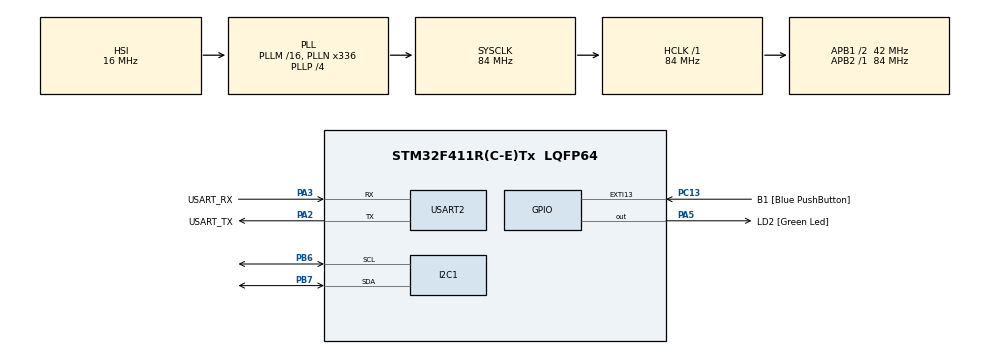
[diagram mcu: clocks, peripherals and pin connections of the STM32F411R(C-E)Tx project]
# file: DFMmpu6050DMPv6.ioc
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I2C1.I2C_Mode=I2C_Fast
Mcu.Family=STM32F4
Mcu.Name=STM32F411R(C-E)Tx
Mcu.Package=LQFP64
NVIC.PriorityGroup=NVIC_PRIORITYGROUP_0
PA13.GPIO_Label=TMS
PA13.Mode=Serial_Wire
PA13.Signal=SYS_JTMS-SWDIO
PA14.GPIO_Label=TCK
PA14.Mode=Serial_Wire
PA14.Signal=SYS_JTCK-SWCLK
PA2.GPIO_Label=USART_TX
PA2.Mode=Asynchronous
PA2.Signal=USART2_TX
PA3.GPIO_Label=USART_RX
PA3.Mode=Asynchronous
PA3.Signal=USART2_RX
PA5.GPIO_Label=LD2 [Green Led]
PA5.Signal=GPIO_Output
PB3.GPIO_Label=SWO
PB3.Signal=SYS_JTDO-SWO
PB6.Mode=I2C
PB6.Signal=I2C1_SCL
PB7.Mode=I2C
PB7.Signal=I2C1_SDA
PC13-ANTI_TAMP.GPIO_Label=B1 [Blue PushButton]
PC13-ANTI_TAMP.GPIO_ModeDefaultEXTI=GPIO_MODE_IT_FALLING
PC13-ANTI_TAMP.Signal=GPXTI13
PC14-OSC32_IN.Mode=LSE-External-Oscillator
PC14-OSC32_IN.Signal=RCC_OSC32_IN
PC15-OSC32_OUT.Mode=LSE-External-Oscillator
PC15-OSC32_OUT.Signal=RCC_OSC32_OUT
PH0\ -\ OSC_IN.Mode=HSE-External-Clock-Source
PH0\ -\ OSC_IN.Signal=RCC_OSC_IN
PH1\ -\ OSC_OUT.Mode=HSE-External-Clock-Source
PH1\ -\ OSC_OUT.Signal=RCC_OSC_OUT
ProjectManager.HeapSize=0x200
ProjectManager.StackSize=0x400
ProjectManager.TargetToolchain=STM32CubeIDE
RCC.48MHZClocksFreq_Value=84000000
RCC.AHBFreq_Value=84000000
RCC.APB1CLKDivider=RCC_HCLK_DIV2
RCC.APB1Freq_Value=42000000
RCC.APB1TimFreq_Value=84000000
RCC.APB2Freq_Value=84000000
RCC.APB2TimFreq_Value=84000000
RCC.CortexFreq_Value=84000000
RCC.FLatency-AdvancedSettings=FLASH_LATENCY_2
RCC.HCLKFreq_Value=84000000
RCC.HSE_VALUE=8000000
RCC.HSI_VALUE=16000000
RCC.PLLN=336
RCC.PLLP=RCC_PLLP_DIV4
RCC.SYSCLKFreq_VALUE=84000000
RCC.SYSCLKSource=RCC_SYSCLKSOURCE_PLLCLK
RCC.VCOOutputFreq_Value=336000000
USART2.VirtualMode=VM_ASYNC
board=NUCLEO-F411RE

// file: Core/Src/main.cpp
/* USER CODE BEGIN Header */
/**
  ******************************************************************************
  * @file           : main.c
  * @brief          : Main program body
  ******************************************************************************
  * @attention
  *
  * <h2><center>&copy; Copyright (c) 2021 STMicroelectronics.
  * All rights reserved.</center></h2>
  *
  * This software component is licensed by ST under BSD 3-Clause license,
  * the "License"; You may not use this file except in compliance with the
  * License. You may obtain a copy of the License at:
  *                        opensource.org/licenses/BSD-3-Clause
  *
  ******************************************************************************
  */
/* USER CODE END Header */
#include "main.h"
#include "i2c.h"
#include "usart.h"
#include "gpio.h"

/* USER CODE BEGIN Includes */
#ifdef DEBUG
#include <string.h>
#include <stdio.h>
#endif
/* USER CODE END Includes */

/* USER CODE BEGIN PD */
#define MPU6050_ADDR            (0x68 << 1)
#define TMP_REG                 0x41
#define MPU6050_ACCEL_XOUT_H		0x3B
/* USER CODE END PD */

/* USER CODE BEGIN PV */
static int16_t acx, acy, acz, tmp, gyx, gyy, gyz;
static int16_t offset_gyx = 0, offset_gyy = 0, offset_gyz = 0;
static float degrees_pitch_acc, degrees_roll_acc;
static float acc_vector;
static float degrees_pitch = 0, degrees_roll = 0;
static uint32_t _millis = 0;

static uint8_t serialBuffer[80];
/* USER CODE END PV */

void SystemClock_Config(void);
/* USER CODE BEGIN PFP */
void MPU6050_Init(void);
void calibirate_MPU6050(int num_iterations);
void read_MPU6050(void);
/* USER CODE END PFP */

int main(void)
{

  /* MCU Configuration--------------------------------------------------------*/

  /* Reset of all peripherals, Initializes the Flash interface and the Systick. */
  HAL_Init();

  /* Configure the system clock */
  SystemClock_Config();

  /* Initialize all configured peripherals */
  MX_GPIO_Init();
  MX_USART2_UART_Init();
  MX_I2C1_Init();
  /* USER CODE BEGIN 2 */
  MPU6050_Init();
  calibirate_MPU6050(3000);

  _millis = HAL_GetTick();
  /* USER CODE END 2 */

  /* Infinite loop */
  /* USER CODE BEGIN WHILE */
  while (1)
  {
	  read_MPU6050();
	     gyx -= offset_gyx;
	     gyy -= offset_gyy;
	     gyz -= offset_gyz;

	     degrees_pitch += gyy * 0.0000610687;
	     degrees_roll  += gyx * 0.0000610687;

	     degrees_pitch += degrees_roll * sin(gyz * 0.000001066);
	     degrees_roll  -= degrees_pitch * sin(gyz * 0.000001066);

	     acc_vector = sqrt((acx * acx) + (acy * acy) + (acz * acz));
	     degrees_pitch_acc = asin((float) acy/acc_vector) * 57.2957795;
	     degrees_roll_acc  = asin((float) acx/acc_vector) * -57.2957795;

	     degrees_pitch = degrees_pitch * 0.97 + degrees_pitch_acc * 0.03;
	     degrees_roll  = degrees_roll * 0.97 + degrees_roll_acc * 0.03;

	     float temp = (tmp / 340.00 + 36.53) * 100;
	     float formatted_pitch = degrees_pitch * 100;
	     float formatted_roll = degrees_roll * 100;

	     sprintf(
	       (char *)serialBuffer, "Pitch: %d.%02u, Roll: %d.%02u, Temp: %d.%02u\r\n",
	       (int)formatted_pitch / 100,
	       (unsigned int)formatted_pitch % 100,
	       (int)formatted_roll / 100,
	       (unsigned int)formatted_roll % 100,
	       (int)temp / 100,
	       (unsigned int)temp % 100
	     );
	     printf("%f\r\n", acx / (float)4096);
	     printf("%f\r\n", acy / (float)4096);
	     printf("%f\r\n", acz / (float)4096);

	     HAL_UART_Transmit(&huart2, serialBuffer, strlen((char *)serialBuffer), 10);
//	     while ((HAL_GetTick() - _millis) < 4);
	     HAL_Delay(500);
    /* USER CODE END WHILE */

  }
}

void SystemClock_Config(void)
{
  RCC_OscInitTypeDef RCC_OscInitStruct = {0};
  RCC_ClkInitTypeDef RCC_ClkInitStruct = {0};

  /** Configure the main internal regulator output voltage
  */
  __HAL_RCC_PWR_CLK_ENABLE();
  __HAL_PWR_VOLTAGESCALING_CONFIG(PWR_REGULATOR_VOLTAGE_SCALE1);
  /** Initializes the RCC Oscillators according to the specified parameters
  * in the RCC_OscInitTypeDef structure.
  */
  RCC_OscInitStruct.OscillatorType = RCC_OSCILLATORTYPE_HSI;
  RCC_OscInitStruct.HSIState = RCC_HSI_ON;
  RCC_OscInitStruct.HSICalibrationValue = RCC_HSICALIBRATION_DEFAULT;
  RCC_OscInitStruct.PLL.PLLState = RCC_PLL_ON;
  RCC_OscInitStruct.PLL.PLLSource = RCC_PLLSOURCE_HSI;
  RCC_OscInitStruct.PLL.PLLM = 16;
  RCC_OscInitStruct.PLL.PLLN = 336;
  RCC_OscInitStruct.PLL.PLLP = RCC_PLLP_DIV4;
  RCC_OscInitStruct.PLL.PLLQ = 4;
  if (HAL_RCC_OscConfig(&RCC_OscInitStruct) != HAL_OK)
  {
    Error_Handler();
  }
  /** Initializes the CPU, AHB and APB buses clocks
  */
  RCC_ClkInitStruct.ClockType = RCC_CLOCKTYPE_HCLK|RCC_CLOCKTYPE_SYSCLK
                              |RCC_CLOCKTYPE_PCLK1|RCC_CLOCKTYPE_PCLK2;
  RCC_ClkInitStruct.SYSCLKSource = RCC_SYSCLKSOURCE_PLLCLK;
  RCC_ClkInitStruct.AHBCLKDivider = RCC_SYSCLK_DIV1;
  RCC_ClkInitStruct.APB1CLKDivider = RCC_HCLK_DIV2;
  RCC_ClkInitStruct.APB2CLKDivider = RCC_HCLK_DIV1;

  if (HAL_RCC_ClockConfig(&RCC_ClkInitStruct, FLASH_LATENCY_2) != HAL_OK)
  {
    Error_Handler();
  }
}

/* USER CODE BEGIN 4 */
void MPU6050_Init(void) {
  uint8_t PWR_MGMT_1[2] = {0x6B, 0x00};
  while (HAL_I2C_Master_Transmit(&hi2c1, MPU6050_ADDR, PWR_MGMT_1, 2, 10) != HAL_OK);

  uint8_t GYR_CONFIG[2] = {0x1B, 0x08};
  while(HAL_I2C_Master_Transmit(&hi2c1, MPU6050_ADDR, GYR_CONFIG, 2, 10) != HAL_OK);

  uint8_t ACC_CONFIG[2] = {0x1C, 0x10};
  while(HAL_I2C_Master_Transmit(&hi2c1, MPU6050_ADDR, ACC_CONFIG, 2, 10) != HAL_OK);

  uint8_t LPF_CONFIG[2] = {0x1A, 0x03};
  while(HAL_I2C_Master_Transmit(&hi2c1, MPU6050_ADDR, LPF_CONFIG, 2, 10) != HAL_OK);
}

/* MPU6050 read data function ------------------------------------------------*/
void read_MPU6050(void) {
  uint8_t data[14];
  uint8_t reg = MPU6050_ACCEL_XOUT_H;

  while(HAL_I2C_Master_Transmit(&hi2c1, MPU6050_ADDR, &reg, 1, 1000) != HAL_OK);
  while(HAL_I2C_Master_Receive(&hi2c1, MPU6050_ADDR, data, 14, 1000) != HAL_OK);

  /* Formatted accelerometer data */
  acx = (int16_t)(data[0] << 8 | data[1]);
  acy = (int16_t)(data[2] << 8 | data[3]);
  acz = (int16_t)(data[4] << 8 | data[5]);

  /* Formatted temperature */
  tmp = (data[6] << 8 | data[7]);

  /* Formatted gyroscope data */
  gyx = (int16_t)(data[8] << 8 | data[9]);
  gyy = (int16_t)(data[10] << 8 | data[11]);
  gyz = (int16_t)(data[12] << 8 | data[13]);
}

/* MPU6050 calibrate function ------------------------------------------------*/
void calibirate_MPU6050(int num_iterations) {
  strcpy((char *)serialBuffer, "Calibrating MPU6050..\r\n");
  HAL_UART_Transmit(&huart2, serialBuffer, strlen((char *)serialBuffer), 10);
  for (int i = 0; i < num_iterations; i++) {
    read_MPU6050();
    offset_gyx += gyx;
    offset_gyy += gyy;
    offset_gyz += gyz;
  }

  offset_gyx /= num_iterations;
  offset_gyy /= num_iterations;
  offset_gyz /= num_iterations;

  strcpy((char *)serialBuffer, "Done calibrating!\r\n");
  HAL_UART_Transmit(&huart2, serialBuffer, strlen((char *)serialBuffer), 10);
}

/* USER CODE END 4 */

void Error_Handler(void)
{
  __disable_irq();
  while (1)
  {
  }
}

/************************ (C) COPYRIGHT STMicroelectronics *****END OF FILE****/
